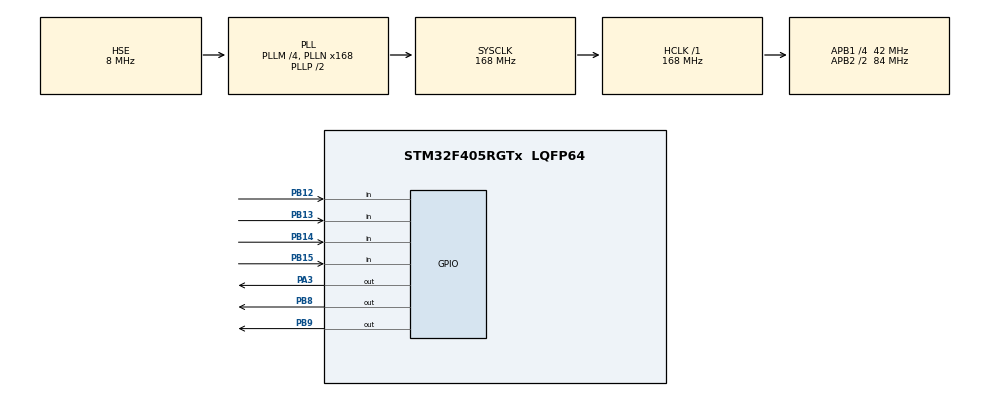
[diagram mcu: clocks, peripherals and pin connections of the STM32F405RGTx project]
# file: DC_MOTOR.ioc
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Mcu.Family=STM32F4
Mcu.Name=STM32F405RGTx
Mcu.Package=LQFP64
NVIC.PriorityGroup=NVIC_PRIORITYGROUP_4
PA13.Mode=Serial_Wire
PA13.Signal=SYS_JTMS-SWDIO
PA14.Mode=Serial_Wire
PA14.Signal=SYS_JTCK-SWCLK
PA3.Signal=GPIO_Output
PB12.Signal=GPIO_Input
PB13.Signal=GPIO_Input
PB14.Signal=GPIO_Input
PB15.Signal=GPIO_Input
PB8.Signal=GPIO_Output
PB9.Signal=GPIO_Output
PH0-OSC_IN.Mode=HSE-External-Oscillator
PH0-OSC_IN.Signal=RCC_OSC_IN
PH1-OSC_OUT.Mode=HSE-External-Oscillator
PH1-OSC_OUT.Signal=RCC_OSC_OUT
ProjectManager.HeapSize=0x200
ProjectManager.StackSize=0x400
ProjectManager.TargetToolchain=EWARM V8.32
RCC.48MHZClocksFreq_Value=84000000
RCC.AHBFreq_Value=168000000
RCC.APB1CLKDivider=RCC_HCLK_DIV4
RCC.APB1Freq_Value=42000000
RCC.APB1TimFreq_Value=84000000
RCC.APB2CLKDivider=RCC_HCLK_DIV2
RCC.APB2Freq_Value=84000000
RCC.APB2TimFreq_Value=168000000
RCC.CortexFreq_Value=168000000
RCC.HCLKFreq_Value=168000000
RCC.HSE_VALUE=8000000
RCC.HSI_VALUE=16000000
RCC.LSE_VALUE=32768
RCC.PLLM=4
RCC.PLLN=168
RCC.PLLSourceVirtual=RCC_PLLSOURCE_HSE
RCC.SYSCLKFreq_VALUE=168000000
RCC.SYSCLKSource=RCC_SYSCLKSOURCE_PLLCLK
RCC.VCOOutputFreq_Value=336000000
board=custom

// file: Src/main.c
/* USER CODE BEGIN Header */
/**
  ******************************************************************************
  * @file           : main.c
  * @brief          : Main program body
  ******************************************************************************
  * @attention
  *
  * <h2><center>&copy; Copyright (c) 2020 STMicroelectronics.
  * All rights reserved.</center></h2>
  *
  * This software component is licensed by ST under BSD 3-Clause license,
  * the "License"; You may not use this file except in compliance with the
  * License. You may obtain a copy of the License at:
  *                        opensource.org/licenses/BSD-3-Clause
  *
  ******************************************************************************
  */
/* USER CODE END Header */

#include "main.h"
#include "gpio.h"

/* USER CODE BEGIN PV */
GPIO_PinState sw0=GPIO_PIN_RESET;
GPIO_PinState sw1=GPIO_PIN_RESET;
GPIO_PinState sw2=GPIO_PIN_RESET;
GPIO_PinState sw3=GPIO_PIN_RESET;
/* USER CODE END PV */

void SystemClock_Config(void);

int main(void)
{

  /* MCU Configuration--------------------------------------------------------*/

  /* Reset of all peripherals, Initializes the Flash interface and the Systick. */
  HAL_Init();

  /* Configure the system clock */
  SystemClock_Config();

  /* Initialize all configured peripherals */
  MX_GPIO_Init();

  /* Infinite loop */
  /* USER CODE BEGIN WHILE */
  while (1)
  {

     sw0=HAL_GPIO_ReadPin(GPIOB,GPIO_PIN_12);
     sw1=HAL_GPIO_ReadPin(GPIOB,GPIO_PIN_13);
     sw2=HAL_GPIO_ReadPin(GPIOB,GPIO_PIN_14);
     sw3=HAL_GPIO_ReadPin(GPIOB,GPIO_PIN_15);

     if(sw0==GPIO_PIN_SET)  // Fast Motor Stop Mode
     {
        HAL_GPIO_WritePin(GPIOB,GPIO_PIN_8,GPIO_PIN_SET);
        HAL_GPIO_WritePin(GPIOB,GPIO_PIN_9,GPIO_PIN_SET);
     }
     else if(sw1==GPIO_PIN_SET) // Free Running Motor Stop Mode
     {
        HAL_GPIO_WritePin(GPIOA,GPIO_PIN_3,GPIO_PIN_RESET);
     }
     else if(sw2==GPIO_PIN_SET)
     {
        HAL_GPIO_WritePin(GPIOB,GPIO_PIN_8,GPIO_PIN_SET);
        HAL_GPIO_WritePin(GPIOB,GPIO_PIN_9,GPIO_PIN_RESET);
        HAL_GPIO_WritePin(GPIOA,GPIO_PIN_3,GPIO_PIN_SET);
     }
     else if(sw3==GPIO_PIN_SET)
     {
        HAL_GPIO_WritePin(GPIOB,GPIO_PIN_8,GPIO_PIN_RESET);
        HAL_GPIO_WritePin(GPIOB,GPIO_PIN_9,GPIO_PIN_SET);
        HAL_GPIO_WritePin(GPIOA,GPIO_PIN_3,GPIO_PIN_SET);
     }

    /* USER CODE END WHILE */

  }
}

void SystemClock_Config(void)
{
  RCC_OscInitTypeDef RCC_OscInitStruct = {0};
  RCC_ClkInitTypeDef RCC_ClkInitStruct = {0};

  /** Configure the main internal regulator output voltage
  */
  __HAL_RCC_PWR_CLK_ENABLE();
  __HAL_PWR_VOLTAGESCALING_CONFIG(PWR_REGULATOR_VOLTAGE_SCALE1);
  /** Initializes the CPU, AHB and APB busses clocks
  */
  RCC_OscInitStruct.OscillatorType = RCC_OSCILLATORTYPE_HSE;
  RCC_OscInitStruct.HSEState = RCC_HSE_ON;
  RCC_OscInitStruct.PLL.PLLState = RCC_PLL_ON;
  RCC_OscInitStruct.PLL.PLLSource = RCC_PLLSOURCE_HSE;
  RCC_OscInitStruct.PLL.PLLM = 4;
  RCC_OscInitStruct.PLL.PLLN = 168;
  RCC_OscInitStruct.PLL.PLLP = RCC_PLLP_DIV2;
  RCC_OscInitStruct.PLL.PLLQ = 4;
  if (HAL_RCC_OscConfig(&RCC_OscInitStruct) != HAL_OK)
  {
    Error_Handler();
  }
  /** Initializes the CPU, AHB and APB busses clocks
  */
  RCC_ClkInitStruct.ClockType = RCC_CLOCKTYPE_HCLK|RCC_CLOCKTYPE_SYSCLK
                              |RCC_CLOCKTYPE_PCLK1|RCC_CLOCKTYPE_PCLK2;
  RCC_ClkInitStruct.SYSCLKSource = RCC_SYSCLKSOURCE_PLLCLK;
  RCC_ClkInitStruct.AHBCLKDivider = RCC_SYSCLK_DIV1;
  RCC_ClkInitStruct.APB1CLKDivider = RCC_HCLK_DIV4;
  RCC_ClkInitStruct.APB2CLKDivider = RCC_HCLK_DIV2;

  if (HAL_RCC_ClockConfig(&RCC_ClkInitStruct, FLASH_LATENCY_5) != HAL_OK)
  {
    Error_Handler();
  }
}

void Error_Handler(void)
{
}

/************************ (C) COPYRIGHT STMicroelectronics *****END OF FILE****/
